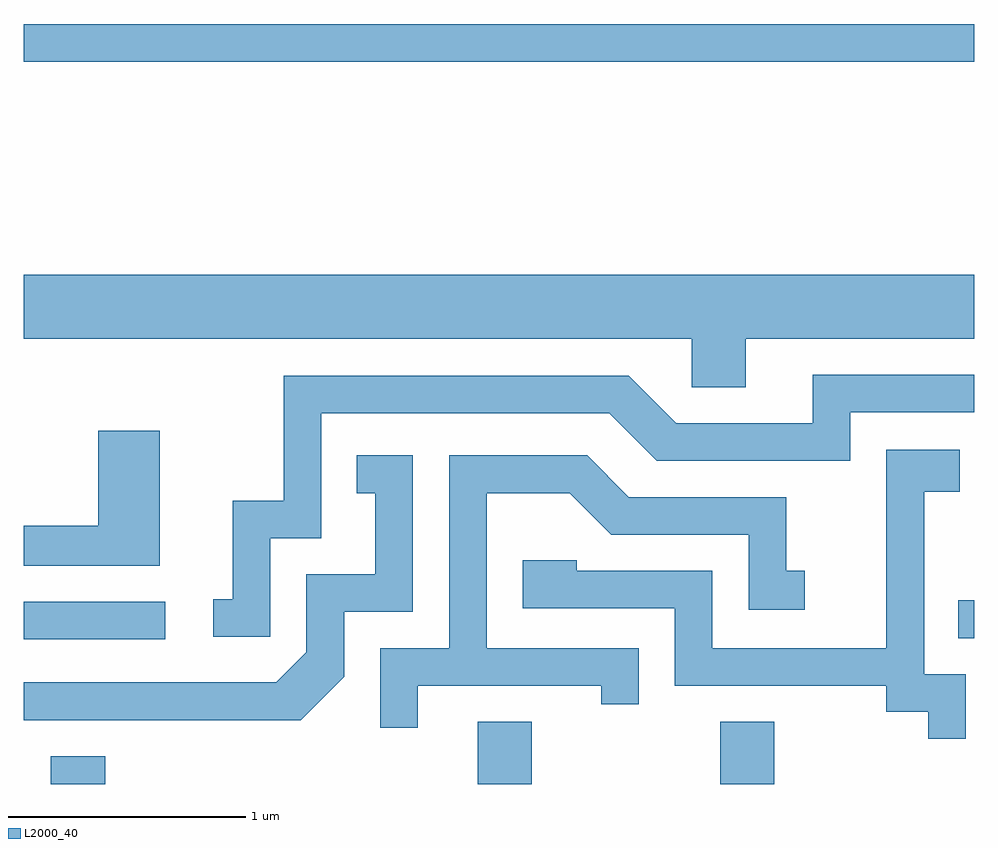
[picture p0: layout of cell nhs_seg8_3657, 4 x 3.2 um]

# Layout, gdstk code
import gdstk
lib = gdstk.Library(unit=1e-6, precision=1e-09)
def R(c, l, rs):  # rectangles x0, y0, x1, y1
    for r in rs: c.add(gdstk.rectangle(r[:2], r[2:], *l))
def P(c, l, *ps):  # polygons
    for p in ps: c.add(gdstk.Polygon(p, *l))
L2000_40 = (2000, 40)

nhs_seg8_3657 = lib.new_cell('nhs_seg8_3657')
R(nhs_seg8_3657, L2000_40, [(295.726,1812.342,295.954,1812.459), (297.521,1812.342,297.749,1812.604), (298.541,1812.342,298.769,1812.604), (295.611,1812.951,296.208,1813.109), (299.543,1812.956,299.611,1813.114), (295.611,1815.381,299.611,1815.539)])
P(nhs_seg8_3657, L2000_40, [(298.649,1814.216),(299.611,1814.216),(299.611,1814.484),(295.611,1814.484),(295.611,1814.216),(298.421,1814.216),(298.421,1814.011),(298.649,1814.011)],
  [(296.649,1813.376),(296.864,1813.376),(296.864,1813.901),(298.074,1813.901),(298.274,1813.701),(299.089,1813.701),(299.089,1813.906),(299.611,1813.906),(299.611,1814.064),(298.931,1814.064),(298.931,1813.859),(298.357,1813.859),(298.157,1814.059),(296.706,1814.059),(296.706,1813.534),(296.491,1813.534),(296.491,1813.119),(296.408,1813.119),(296.408,1812.961),(296.649,1812.961)],
  [(296.184,1813.829),(295.926,1813.829),(295.926,1813.429),(295.611,1813.429),(295.611,1813.261),(296.184,1813.261)],
  [(299.574,1812.804),(299.399,1812.804),(299.399,1813.571),(299.549,1813.571),(299.549,1813.749),(299.241,1813.749),(299.241,1812.914),(298.509,1812.914),(298.509,1813.239),(297.939,1813.239),(297.939,1813.284),(297.711,1813.284),(297.711,1813.081),(298.351,1813.081),(298.351,1812.756),(299.241,1812.756),(299.241,1812.646),(299.416,1812.646),(299.416,1812.533),(299.574,1812.533)],
  [(297.269,1812.756),(298.041,1812.756),(298.041,1812.678),(298.199,1812.678),(298.199,1812.914),(297.559,1812.914),(297.559,1813.566),(297.909,1813.566),(298.084,1813.391),(298.661,1813.391),(298.661,1813.076),(298.898,1813.076),(298.898,1813.239),(298.819,1813.239),(298.819,1813.549),(298.157,1813.549),(297.982,1813.724),(297.401,1813.724),(297.401,1812.914),(297.111,1812.914),(297.111,1812.578),(297.269,1812.578)],
  [(296.959,1812.794),(296.959,1813.066),(297.249,1813.066),(297.249,1813.724),(297.013,1813.724),(297.013,1813.566),(297.091,1813.566),(297.091,1813.224),(296.801,1813.224),(296.801,1812.897),(296.674,1812.769),(295.611,1812.769),(295.611,1812.611),(296.777,1812.611)])

lib.write_gds('nhs_seg8_3657.gds')
